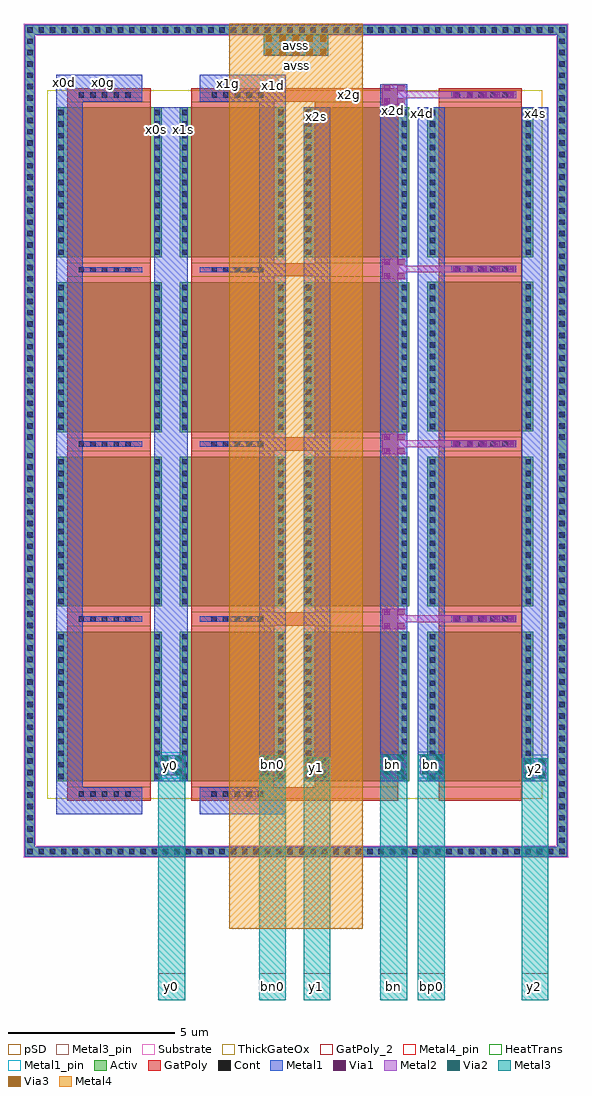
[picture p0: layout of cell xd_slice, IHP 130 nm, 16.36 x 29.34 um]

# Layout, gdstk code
from math import pi, radians
import gdstk
lib = gdstk.Library(unit=1e-6, precision=1e-09)
def R(c, l, rs):  # rectangles x0, y0, x1, y1
    for r in rs: c.add(gdstk.rectangle(r[:2], r[2:], *l))
def A(c, l, x, y, w, h, nx, ny, dx, dy):  # array of equal rectangles
    R(c, l, [(x+i*dx, y+j*dy, x+i*dx+w, y+j*dy+h) for i in range(nx) for j in range(ny)])
def P(c, l, *ps):  # polygons
    for p in ps: c.add(gdstk.Polygon(p, *l))
Activ = (1, 0)
GatPoly = (5, 0)
GatPoly_2 = (5, 2)
Cont = (6, 0)
Metal1 = (8, 0)
Metal1_pin = (8, 2)
Metal2 = (10, 0)
pSD = (14, 0)
Via1 = (19, 0)
Via2 = (29, 0)
Metal3 = (30, 0)
Metal3_pin = (30, 2)
Substrate = (40, 0)
ThickGateOx = (44, 0)
Via3 = (49, 0)
Metal4 = (50, 0)
Metal4_pin = (50, 2)
HeatTrans = (51, 0)

nmoshv = lib.new_cell('nmosHV')
R(nmoshv, Activ, [(0,0,0.3,0.3), (0,0,3.18,4.5), (2.88,0,3.18,0.3)])
R(nmoshv, GatPoly, [(0.34,-0.18,2.84,4.68)])
R(nmoshv, GatPoly_2, [(0.34,-0.18,2.84,4.68)])
A(nmoshv, Cont, 0.07, 0.07, 0.16, 0.16, 1, 13, 0, 0.35)
A(nmoshv, Cont, 2.95, 0.07, 0.16, 0.16, 1, 13, 0, 0.35)
R(nmoshv, Metal1, [(0.07,0,0.23,4.5), (2.95,0,3.11,4.5)])
R(nmoshv, Metal1_pin, [(0.07,0,0.23,4.5), (2.95,0,3.11,4.5)])
R(nmoshv, ThickGateOx, [(-0.27,-0.52,3.45,5.02)])
R(nmoshv, HeatTrans, [(0.34,-0.18,2.84,4.68)])
nmoshv.add(gdstk.Label('nmosHV', (1.59,2.25), layer=63, texttype=0))
nmoshv.add(gdstk.Label('nmosHV', (1.59,2.25), layer=51, texttype=0))

guard_ring = lib.new_cell('guard_ring')
R(guard_ring, Activ, [(-8.15,-12.2,-7.85,12.2), (7.85,-12.2,8.15,12.2), (-8.15,12.2,8.15,12.5)])
P(guard_ring, Activ, [(-8.15,-12.5),(-8.15,12.2),(-7.85,12.2),(-7.85,-12.2),(7.85,-12.2),(7.85,12.2),(-8.15,12.2),(-8.15,12.5),(8.15,12.5),(8.15,-12.5)])
A(guard_ring, Cont, -8.08, -12.43, 0.16, 0.16, 24, 2, 0.34, 24.7)
A(guard_ring, Cont, 0.1, -12.43, 0.16, 0.16, 24, 2, 0.34, 24.7)
A(guard_ring, Cont, -8.08, -12.09, 0.16, 0.16, 1, 35, 0, 0.34)
A(guard_ring, Cont, 7.92, -12.09, 0.16, 0.16, 1, 35, 0, 0.34)
A(guard_ring, Cont, -8.08, 0.03, 0.16, 0.16, 1, 36, 0, 0.34)
A(guard_ring, Cont, 7.92, 0.03, 0.16, 0.16, 1, 36, 0, 0.34)
R(guard_ring, Metal1, [(-8.15,-12.5,8.15,-12.2), (-8.15,-12.2,-7.85,12.2), (7.85,-12.2,8.15,12.2), (-8.15,12.2,8.15,12.5)])
R(guard_ring, pSD, [(-8.18,-12.17,-7.82,12.17), (7.82,-12.17,8.18,12.17), (-8.18,12.17,8.18,12.53)])
P(guard_ring, pSD, [(-8.18,-12.53),(-8.18,12.17),(-7.82,12.17),(-7.82,-12.17),(7.82,-12.17),(7.82,12.17),(-8.18,12.17),(-8.18,12.53),(8.18,12.53),(8.18,-12.53)])
R(guard_ring, Substrate, [(-8.18,-12.17,-7.82,12.17), (7.82,-12.17,8.18,12.17), (-8.18,12.17,8.18,12.53)])
P(guard_ring, Substrate, [(-8.18,-12.53),(-8.18,12.17),(-7.82,12.17),(-7.82,-12.17),(7.82,-12.17),(7.82,12.17),(-8.18,12.17),(-8.18,12.53),(8.18,12.53),(8.18,-12.53)])
guard_ring.add(gdstk.Label('sub!', (0,-12.35), layer=63, texttype=0))

via_stack = lib.new_cell('via_stack')
R(via_stack, Metal1, [(-0.35,-0.31,0.35,0.31)])
R(via_stack, Metal2, [(-0.35,-0.305,0.35,0.305)])
R(via_stack, Via1, [(-0.3,-0.3,-0.11,-0.11), (0.11,-0.3,0.3,-0.11), (-0.3,0.11,-0.11,0.3), (0.11,0.11,0.3,0.3)])
R(via_stack, Via2, [(-0.3,-0.3,-0.11,-0.11), (0.11,-0.3,0.3,-0.11), (-0.3,0.11,-0.11,0.3), (0.11,0.11,0.3,0.3)])
R(via_stack, Metal3, [(-0.35,-0.305,0.35,0.305)])

via_stack_3 = lib.new_cell('via_stack$3')
R(via_stack_3, Metal1, [(-0.35,-0.31,0.35,0.31)])
R(via_stack_3, Metal2, [(-0.35,-0.305,0.35,0.305)])
R(via_stack_3, Via1, [(-0.3,-0.3,-0.11,-0.11), (0.11,-0.3,0.3,-0.11), (-0.3,0.11,-0.11,0.3), (0.11,0.11,0.3,0.3)])

via_stack_2 = lib.new_cell('via_stack$2')
R(via_stack_2, Metal1, [(-0.965,-0.31,0.965,0.31)])
R(via_stack_2, Metal2, [(-0.965,-0.305,0.965,0.305)])
A(via_stack_2, Via1, -0.915, -0.3, 0.19, 0.19, 5, 2, 0.41, 0.41)
A(via_stack_2, Via2, -0.915, -0.3, 0.19, 0.19, 5, 2, 0.41, 0.41)
R(via_stack_2, Metal3, [(-0.965,-0.305,0.965,0.305)])
A(via_stack_2, Via3, -0.915, -0.3, 0.19, 0.19, 5, 2, 0.41, 0.41)
R(via_stack_2, Metal4, [(-0.965,-0.305,0.965,0.305)])

xd_slice = lib.new_cell('xd_slice')
A(xd_slice, GatPoly, 1.31, 1.71, 2.5, 0.4, 1, 3, 0, 5.26)
A(xd_slice, GatPoly, 1.31, 6.97, 2.5, 0.4, 4, 2, 3.72, 5.26)
A(xd_slice, GatPoly, 1.31, 17.47, 2.5, 0.4, 4, 1, 3.72, 0)
R(xd_slice, GatPoly, [(1.31,1.71,3.81,2.11), (5.03,1.71,7.53,2.11), (5.03,1.71,7.53,2.11), (8.75,1.71,11.25,2.11), (8.75,1.71,11.25,2.11), (12.47,1.71,14.97,2.11), (12.47,1.71,14.97,2.11), (12.47,6.97,14.97,7.37), (12.47,6.97,14.97,7.37), (12.47,6.97,14.97,7.37), (12.47,6.97,14.97,7.37), (12.47,6.97,14.97,7.37), (12.47,6.97,14.97,7.37), (12.47,6.97,14.97,7.37), (12.47,12.23,14.97,12.63), (12.47,12.23,14.97,12.63), (12.47,12.23,14.97,12.63), (12.47,12.23,14.97,12.63), (12.47,12.23,14.97,12.63), (1.31,22.73,3.81,23.13), (1.31,22.73,3.81,23.13), (5.035,22.73,7.535,23.13), (5.035,22.73,7.535,23.13), (8.745,22.73,11.245,23.13), (8.745,22.73,11.245,23.13), (12.47,22.73,14.97,23.13), (12.47,22.73,14.97,23.13), (12.47,22.73,14.97,23.13)])
R(xd_slice, Cont, [(1.645,1.835,1.805,1.995), (1.645,1.835,1.805,1.995), (1.645,1.835,1.805,1.995), (1.645,1.835,1.805,1.995), (1.995,1.835,2.155,1.995), (1.995,1.835,2.155,1.995), (1.995,1.835,2.155,1.995), (1.995,1.835,2.155,1.995), (2.345,1.835,2.505,1.995), (2.345,1.835,2.505,1.995), (2.345,1.835,2.505,1.995), (2.345,1.835,2.505,1.995), (2.695,1.835,2.855,1.995), (2.695,1.835,2.855,1.995), (2.695,1.835,2.855,1.995), (2.695,1.835,2.855,1.995), (3.045,1.835,3.205,1.995), (3.045,1.835,3.205,1.995), (3.045,1.835,3.205,1.995), (3.045,1.835,3.205,1.995), (5.635,1.835,5.795,1.995), (5.635,1.835,5.795,1.995), (5.635,1.835,5.795,1.995), (5.635,1.835,5.795,1.995), (5.985,1.835,6.145,1.995), (5.985,1.835,6.145,1.995), (5.985,1.835,6.145,1.995), (5.985,1.835,6.145,1.995), (6.335,1.835,6.495,1.995), (6.335,1.835,6.495,1.995), (6.335,1.835,6.495,1.995), (6.335,1.835,6.495,1.995), (6.685,1.835,6.845,1.995), (6.685,1.835,6.845,1.995), (6.685,1.835,6.845,1.995), (6.685,1.835,6.845,1.995), (7.035,1.835,7.195,1.995), (7.035,1.835,7.195,1.995), (7.035,1.835,7.195,1.995), (7.035,1.835,7.195,1.995), (1.645,7.095,1.805,7.255), (1.645,7.095,1.805,7.255), (1.645,7.095,1.805,7.255), (1.645,7.095,1.805,7.255), (1.995,7.095,2.155,7.255), (1.995,7.095,2.155,7.255), (1.995,7.095,2.155,7.255), (1.995,7.095,2.155,7.255), (2.345,7.095,2.505,7.255), (2.345,7.095,2.505,7.255), (2.345,7.095,2.505,7.255), (2.345,7.095,2.505,7.255), (2.695,7.095,2.855,7.255), (2.695,7.095,2.855,7.255), (2.695,7.095,2.855,7.255), (2.695,7.095,2.855,7.255), (3.045,7.095,3.205,7.255), (3.045,7.095,3.205,7.255), (3.045,7.095,3.205,7.255), (3.045,7.095,3.205,7.255), (5.635,7.095,5.795,7.255), (5.635,7.095,5.795,7.255), (5.635,7.095,5.795,7.255), (5.635,7.095,5.795,7.255), (5.985,7.095,6.145,7.255), (5.985,7.095,6.145,7.255), (5.985,7.095,6.145,7.255), (5.985,7.095,6.145,7.255), (6.335,7.095,6.495,7.255), (6.335,7.095,6.495,7.255), (6.335,7.095,6.495,7.255), (6.335,7.095,6.495,7.255), (6.685,7.095,6.845,7.255), (6.685,7.095,6.845,7.255), (6.685,7.095,6.845,7.255), (6.685,7.095,6.845,7.255), (7.035,7.095,7.195,7.255), (7.035,7.095,7.195,7.255), (7.035,7.095,7.195,7.255), (7.035,7.095,7.195,7.255), (12.965,7.095,13.125,7.255), (12.965,7.095,13.125,7.255), (12.965,7.095,13.125,7.255), (12.965,7.095,13.125,7.255), (13.315,7.095,13.475,7.255), (13.315,7.095,13.475,7.255), (13.315,7.095,13.475,7.255), (13.315,7.095,13.475,7.255), (13.315,7.095,13.475,7.255), (13.315,7.095,13.475,7.255), (13.315,7.095,13.475,7.255), (13.315,7.095,13.475,7.255), (13.665,7.095,13.825,7.255), (13.665,7.095,13.825,7.255), (13.665,7.095,13.825,7.255), (13.665,7.095,13.825,7.255), (13.665,7.095,13.825,7.255), (13.665,7.095,13.825,7.255), (13.665,7.095,13.825,7.255), (13.665,7.095,13.825,7.255), (14.015,7.095,14.175,7.255), (14.015,7.095,14.175,7.255), (14.015,7.095,14.175,7.255), (14.015,7.095,14.175,7.255), (14.015,7.095,14.175,7.255), (14.015,7.095,14.175,7.255), (14.015,7.095,14.175,7.255), (14.015,7.095,14.175,7.255), (14.365,7.095,14.525,7.255), (14.365,7.095,14.525,7.255), (14.365,7.095,14.525,7.255), (14.365,7.095,14.525,7.255), (1.645,12.355,1.805,12.515), (1.645,12.355,1.805,12.515), (1.645,12.355,1.805,12.515), (1.645,12.355,1.805,12.515), (1.995,12.355,2.155,12.515), (1.995,12.355,2.155,12.515), (1.995,12.355,2.155,12.515), (1.995,12.355,2.155,12.515), (2.345,12.355,2.505,12.515), (2.345,12.355,2.505,12.515), (2.345,12.355,2.505,12.515), (2.345,12.355,2.505,12.515), (2.695,12.355,2.855,12.515), (2.695,12.355,2.855,12.515), (2.695,12.355,2.855,12.515), (2.695,12.355,2.855,12.515), (3.045,12.355,3.205,12.515), (3.045,12.355,3.205,12.515), (3.045,12.355,3.205,12.515), (3.045,12.355,3.205,12.515), (5.635,12.355,5.795,12.515), (5.635,12.355,5.795,12.515), (5.635,12.355,5.795,12.515), (5.635,12.355,5.795,12.515), (5.985,12.355,6.145,12.515), (5.985,12.355,6.145,12.515), (5.985,12.355,6.145,12.515), (5.985,12.355,6.145,12.515), (6.335,12.355,6.495,12.515), (6.335,12.355,6.495,12.515), (6.335,12.355,6.495,12.515), (6.335,12.355,6.495,12.515), (6.685,12.355,6.845,12.515), (6.685,12.355,6.845,12.515), (6.685,12.355,6.845,12.515), (6.685,12.355,6.845,12.515), (7.035,12.355,7.195,12.515), (7.035,12.355,7.195,12.515), (7.035,12.355,7.195,12.515), (7.035,12.355,7.195,12.515), (12.965,12.355,13.125,12.515), (12.965,12.355,13.125,12.515), (12.965,12.355,13.125,12.515), (12.965,12.355,13.125,12.515), (13.315,12.355,13.475,12.515), (13.315,12.355,13.475,12.515), (13.315,12.355,13.475,12.515), (13.315,12.355,13.475,12.515), (13.315,12.355,13.475,12.515), (13.315,12.355,13.475,12.515), (13.315,12.355,13.475,12.515), (13.315,12.355,13.475,12.515), (13.665,12.355,13.825,12.515), (13.665,12.355,13.825,12.515), (13.665,12.355,13.825,12.515), (13.665,12.355,13.825,12.515), (13.665,12.355,13.825,12.515), (13.665,12.355,13.825,12.515), (13.665,12.355,13.825,12.515), (13.665,12.355,13.825,12.515), (14.015,12.355,14.175,12.515), (14.015,12.355,14.175,12.515), (14.015,12.355,14.175,12.515), (14.015,12.355,14.175,12.515), (14.015,12.355,14.175,12.515), (14.015,12.355,14.175,12.515), (14.015,12.355,14.175,12.515), (14.015,12.355,14.175,12.515), (14.365,12.355,14.525,12.515), (14.365,12.355,14.525,12.515), (14.365,12.355,14.525,12.515), (14.365,12.355,14.525,12.515), (1.645,17.595,1.805,17.755), (1.645,17.595,1.805,17.755), (1.645,17.595,1.805,17.755), (1.645,17.595,1.805,17.755), (1.995,17.595,2.155,17.755), (1.995,17.595,2.155,17.755), (1.995,17.595,2.155,17.755), (1.995,17.595,2.155,17.755), (2.345,17.595,2.505,17.755), (2.345,17.595,2.505,17.755), (2.345,17.595,2.505,17.755), (2.345,17.595,2.505,17.755), (2.695,17.595,2.855,17.755), (2.695,17.595,2.855,17.755), (2.695,17.595,2.855,17.755), (2.695,17.595,2.855,17.755), (3.045,17.595,3.205,17.755), (3.045,17.595,3.205,17.755), (3.045,17.595,3.205,17.755), (3.045,17.595,3.205,17.755), (5.64,17.595,5.8,17.755), (5.64,17.595,5.8,17.755), (5.64,17.595,5.8,17.755), (5.64,17.595,5.8,17.755), (5.99,17.595,6.15,17.755), (5.99,17.595,6.15,17.755), (5.99,17.595,6.15,17.755), (5.99,17.595,6.15,17.755), (6.34,17.595,6.5,17.755), (6.34,17.595,6.5,17.755), (6.34,17.595,6.5,17.755), (6.34,17.595,6.5,17.755), (6.69,17.595,6.85,17.755), (6.69,17.595,6.85,17.755), (6.69,17.595,6.85,17.755), (6.69,17.595,6.85,17.755), (7.04,17.595,7.2,17.755), (7.04,17.595,7.2,17.755), (7.04,17.595,7.2,17.755), (7.04,17.595,7.2,17.755), (12.965,17.615,13.125,17.775), (12.965,17.615,13.125,17.775), (12.965,17.615,13.125,17.775), (12.965,17.615,13.125,17.775), (13.315,17.615,13.475,17.775), (13.315,17.615,13.475,17.775), (13.315,17.615,13.475,17.775), (13.315,17.615,13.475,17.775), (13.315,17.615,13.475,17.775), (13.315,17.615,13.475,17.775), (13.315,17.615,13.475,17.775), (13.315,17.615,13.475,17.775), (13.665,17.615,13.825,17.775), (13.665,17.615,13.825,17.775), (13.665,17.615,13.825,17.775), (13.665,17.615,13.825,17.775), (13.665,17.615,13.825,17.775), (13.665,17.615,13.825,17.775), (13.665,17.615,13.825,17.775), (13.665,17.615,13.825,17.775), (14.015,17.615,14.175,17.775), (14.015,17.615,14.175,17.775), (14.015,17.615,14.175,17.775), (14.015,17.615,14.175,17.775), (14.015,17.615,14.175,17.775), (14.015,17.615,14.175,17.775), (14.015,17.615,14.175,17.775), (14.015,17.615,14.175,17.775), (14.365,17.615,14.525,17.775), (14.365,17.615,14.525,17.775), (14.365,17.615,14.525,17.775), (14.365,17.615,14.525,17.775), (1.645,22.845,1.805,23.005), (1.645,22.845,1.805,23.005), (1.645,22.845,1.805,23.005), (1.645,22.845,1.805,23.005), (1.995,22.845,2.155,23.005), (1.995,22.845,2.155,23.005), (1.995,22.845,2.155,23.005), (1.995,22.845,2.155,23.005), (2.345,22.845,2.505,23.005), (2.345,22.845,2.505,23.005), (2.345,22.845,2.505,23.005), (2.345,22.845,2.505,23.005), (2.695,22.845,2.855,23.005), (2.695,22.845,2.855,23.005), (2.695,22.845,2.855,23.005), (2.695,22.845,2.855,23.005), (3.045,22.845,3.205,23.005), (3.045,22.845,3.205,23.005), (3.045,22.845,3.205,23.005), (3.045,22.845,3.205,23.005), (5.64,22.845,5.8,23.005), (5.64,22.845,5.8,23.005), (5.64,22.845,5.8,23.005), (5.64,22.845,5.8,23.005), (5.99,22.845,6.15,23.005), (5.99,22.845,6.15,23.005), (5.99,22.845,6.15,23.005), (5.99,22.845,6.15,23.005), (6.34,22.845,6.5,23.005), (6.34,22.845,6.5,23.005), (6.34,22.845,6.5,23.005), (6.34,22.845,6.5,23.005), (6.69,22.845,6.85,23.005), (6.69,22.845,6.85,23.005), (6.69,22.845,6.85,23.005), (6.69,22.845,6.85,23.005), (7.04,22.845,7.2,23.005), (7.04,22.845,7.2,23.005), (7.04,22.845,7.2,23.005), (7.04,22.845,7.2,23.005), (12.965,22.855,13.125,23.015), (12.965,22.855,13.125,23.015), (12.965,22.855,13.125,23.015), (12.965,22.855,13.125,23.015), (13.315,22.855,13.475,23.015), (13.315,22.855,13.475,23.015), (13.315,22.855,13.475,23.015), (13.315,22.855,13.475,23.015), (13.315,22.855,13.475,23.015), (13.315,22.855,13.475,23.015), (13.315,22.855,13.475,23.015), (13.315,22.855,13.475,23.015), (13.665,22.855,13.825,23.015), (13.665,22.855,13.825,23.015), (13.665,22.855,13.825,23.015), (13.665,22.855,13.825,23.015), (13.665,22.855,13.825,23.015), (13.665,22.855,13.825,23.015), (13.665,22.855,13.825,23.015), (13.665,22.855,13.825,23.015), (14.015,22.855,14.175,23.015), (14.015,22.855,14.175,23.015), (14.015,22.855,14.175,23.015), (14.015,22.855,14.175,23.015), (14.015,22.855,14.175,23.015), (14.015,22.855,14.175,23.015), (14.015,22.855,14.175,23.015), (14.015,22.855,14.175,23.015), (14.365,22.855,14.525,23.015), (14.365,22.855,14.525,23.015), (14.365,22.855,14.525,23.015), (14.365,22.855,14.525,23.015)])
A(xd_slice, Metal1, 12.84, 7.07, 1.95, 0.21, 1, 3, 0, 5.26)
R(xd_slice, Metal1, [(1.645,1.835,3.555,1.995), (1.645,1.835,3.555,1.995), (5.285,1.835,7.195,1.995), (5.285,1.835,7.195,1.995), (3.92,2.29,4.92,22.55), (1.645,7.095,3.555,7.255), (1.645,7.095,3.555,7.255), (5.285,7.095,7.195,7.255), (5.285,7.095,7.195,7.255), (1.645,12.355,3.555,12.515), (1.645,12.355,3.555,12.515), (5.285,12.355,7.195,12.515), (5.285,12.355,7.195,12.515), (1.645,17.595,3.555,17.755), (1.645,17.595,3.555,17.755), (5.29,17.595,7.2,17.755), (5.29,17.595,7.2,17.755), (12.84,22.83,14.805,23.04), (1.645,22.845,3.555,23.005), (1.645,22.845,3.555,23.005), (5.29,22.845,7.2,23.005), (5.29,22.845,7.2,23.005)])
R(xd_slice, Metal1_pin, [(1.645,1.835,3.555,1.995), (1.645,1.835,3.555,1.995), (5.285,1.835,7.195,1.995), (5.285,1.835,7.195,1.995), (14.97,2.29,15.77,3.09), (4.02,2.37,4.82,3.17), (10.72,2.385,11.52,3.185), (11.845,2.385,12.645,3.185), (7.07,2.39,7.87,3.19), (8.41,2.39,9.21,3.19), (1.645,7.095,3.555,7.255), (1.645,7.095,3.555,7.255), (5.285,7.095,7.195,7.255), (5.285,7.095,7.195,7.255), (1.645,12.355,3.555,12.515), (1.645,12.355,3.555,12.515), (5.285,12.355,7.195,12.515), (5.285,12.355,7.195,12.515), (1.645,17.595,3.555,17.755), (1.645,17.595,3.555,17.755), (5.29,17.595,7.2,17.755), (5.29,17.595,7.2,17.755), (1.645,22.845,3.555,23.005), (1.645,22.845,3.555,23.005), (5.29,22.845,7.2,23.005), (5.29,22.845,7.2,23.005)])
A(xd_slice, Metal2, 12.84, 7.07, 0.05, 0.21, 1, 3, 0, 5.26)
A(xd_slice, Metal2, 12.89, 7.07, 1.915, 0.21, 1, 3, 0, 5.26)
R(xd_slice, Metal2, [(12.84,22.83,12.89,23.04), (12.89,22.83,14.805,23.04)])
A(xd_slice, Via1, 12.9, 7.08, 0.19, 0.19, 5, 3, 0.41, 5.26)
A(xd_slice, Via1, 14.54, 7.08, 0.19, 0.19, 1, 3, 0, 5.26)
A(xd_slice, Via1, 12.9, 22.84, 0.19, 0.19, 5, 1, 0.41, 0)
R(xd_slice, Via1, [(14.54,22.84,14.73,23.03)])
R(xd_slice, Metal3_pin, [(4.045,-4.28,4.845,-3.48), (7.07,-4.28,7.87,-3.48), (8.41,-4.28,9.21,-3.48), (10.72,-4.28,11.52,-3.48), (11.845,-4.28,12.645,-3.48), (14.96,-4.28,15.76,-3.48)])
R(xd_slice, Metal4_pin, [(6.18,-2.14,10.18,25.06)])
xd_slice.add(gdstk.FlexPath([(1.375,2.29),(1.375,1.71),(1.65,1.71)], 0.8, ends="flush", simple_path=True, layer=8, datatype=0))  # Metal1
xd_slice.add(gdstk.FlexPath([(12.245,2.29),(12.245,22.55)], 0.8, ends="flush", simple_path=True, layer=8, datatype=0))  # Metal1
xd_slice.add(gdstk.FlexPath([(11.12,23.245),(11.12,2.29)], 0.8, ends="flush", simple_path=True, layer=8, datatype=0))  # Metal1
xd_slice.add(gdstk.FlexPath([(8.81,22.55),(8.81,2.29)], 0.8, ends="flush", simple_path=True, layer=8, datatype=0))  # Metal1
xd_slice.add(gdstk.FlexPath([(15.37,22.55),(15.37,2.29),(15.37,2.29)], 0.8, ends="flush", simple_path=True, layer=8, datatype=0))  # Metal1
xd_slice.add(gdstk.FlexPath([(3.56,1.71),(1.65,1.71)], 0.8, ends="flush", simple_path=True, layer=8, datatype=0))  # Metal1
xd_slice.add(gdstk.FlexPath([(1.375,22.55),(1.375,23.13),(1.65,23.13)], 0.8, ends="flush", simple_path=True, layer=8, datatype=0))  # Metal1
xd_slice.add(gdstk.FlexPath([(3.56,23.13),(1.65,23.13)], 0.8, ends="flush", simple_path=True, layer=8, datatype=0))  # Metal1
xd_slice.add(gdstk.FlexPath([(7.47,22.55),(7.47,23.13),(7.195,23.13)], 0.8, ends="flush", simple_path=True, layer=8, datatype=0))  # Metal1
xd_slice.add(gdstk.FlexPath([(5.285,23.13),(7.195,23.13)], 0.8, ends="flush", simple_path=True, layer=8, datatype=0))  # Metal1
xd_slice.add(gdstk.FlexPath([(1.375,2.29),(1.375,22.55)], 0.8, ends="flush", simple_path=True, layer=8, datatype=0))  # Metal1
xd_slice.add(gdstk.FlexPath([(5.285,1.71),(7.195,1.71)], 0.8, ends="flush", simple_path=True, layer=8, datatype=0))  # Metal1
xd_slice.add(gdstk.FlexPath([(7.47,2.29),(7.47,1.71),(7.195,1.71)], 0.8, ends="flush", simple_path=True, layer=8, datatype=0))  # Metal1
xd_slice.add(gdstk.FlexPath([(7.47,2.29),(7.47,22.55)], 0.8, ends="flush", simple_path=True, layer=8, datatype=0))  # Metal1
xd_slice.add(gdstk.FlexPath([(5.285,1.71),(7.195,1.71)], 0.8, ends="flush", simple_path=True, layer=8, datatype=0))  # Metal1
xd_slice.add(gdstk.FlexPath([(7.47,2.29),(7.47,1.71),(7.195,1.71)], 0.8, ends="flush", simple_path=True, layer=8, datatype=0))  # Metal1
xd_slice.add(gdstk.FlexPath([(7.53,7.17),(8.75,7.17)], 0.4, ends="flush", simple_path=True, layer=5, datatype=0))  # GatPoly
xd_slice.add(gdstk.FlexPath([(7.53,1.91),(8.75,1.91)], 0.4, ends="flush", simple_path=True, layer=5, datatype=0))  # GatPoly
xd_slice.add(gdstk.FlexPath([(7.53,12.43),(8.75,12.43)], 0.4, ends="flush", simple_path=True, layer=5, datatype=0))  # GatPoly
xd_slice.add(gdstk.FlexPath([(7.53,17.67),(8.75,17.67)], 0.4, ends="flush", simple_path=True, layer=5, datatype=0))  # GatPoly
xd_slice.add(gdstk.FlexPath([(7.535,22.93),(8.745,22.93)], 0.4, ends="flush", simple_path=True, layer=5, datatype=0))  # GatPoly
xd_slice.add(gdstk.FlexPath([(8.18,0),(8.18,-2.14)], 4, ends="flush", simple_path=True, layer=50, datatype=2))  # Metal4_pin
xd_slice.add(gdstk.FlexPath([(8.18,25.06),(8.18,0)], 4, ends="flush", simple_path=True, layer=50, datatype=2))  # Metal4_pin
xd_slice.add(gdstk.FlexPath([(8.18,0),(8.18,-2.14)], 4, ends="flush", simple_path=True, layer=50, datatype=0))  # Metal4
xd_slice.add(gdstk.FlexPath([(8.18,25.06),(8.18,0)], 4, ends="flush", simple_path=True, layer=50, datatype=0))  # Metal4
xd_slice.add(gdstk.FlexPath([(12.81,22.935),(10.77,22.935)], 0.21, ends="flush", simple_path=True, layer=10, datatype=0))  # Metal2
xd_slice.add(gdstk.FlexPath([(10.77,22.935),(12.84,22.935)], 0.21, ends="flush", simple_path=True, layer=10, datatype=0))  # Metal2
xd_slice.add(gdstk.FlexPath([(12.81,17.695),(10.77,17.695)], 0.21, ends="flush", simple_path=True, layer=10, datatype=0))  # Metal2
xd_slice.add(gdstk.FlexPath([(12.81,12.435),(10.77,12.435)], 0.21, ends="flush", simple_path=True, layer=10, datatype=0))  # Metal2
xd_slice.add(gdstk.FlexPath([(10.77,17.695),(12.84,17.695)], 0.21, ends="flush", simple_path=True, layer=10, datatype=0))  # Metal2
xd_slice.add(gdstk.FlexPath([(10.77,12.435),(12.84,12.435)], 0.21, ends="flush", simple_path=True, layer=10, datatype=0))  # Metal2
xd_slice.add(gdstk.FlexPath([(12.81,7.175),(10.77,7.175)], 0.21, ends="flush", simple_path=True, layer=10, datatype=0))  # Metal2
xd_slice.add(gdstk.FlexPath([(10.77,7.175),(12.84,7.175)], 0.21, ends="flush", simple_path=True, layer=10, datatype=0))  # Metal2
xd_slice.add(gdstk.FlexPath([(15.36,2.99),(15.36,0),(15.36,0)], 0.8, ends="flush", simple_path=True, layer=30, datatype=0))  # Metal3
xd_slice.add(gdstk.FlexPath([(12.245,3.11),(12.245,0)], 0.8, ends="flush", simple_path=True, layer=30, datatype=0))  # Metal3
xd_slice.add(gdstk.FlexPath([(8.81,3.02),(8.81,0)], 0.8, ends="flush", simple_path=True, layer=30, datatype=0))  # Metal3
xd_slice.add(gdstk.FlexPath([(7.47,3.08),(7.47,0)], 0.8, ends="flush", simple_path=True, layer=30, datatype=0))  # Metal3
xd_slice.add(gdstk.FlexPath([(4.445,3.085),(4.445,0)], 0.8, ends="flush", simple_path=True, layer=30, datatype=0))  # Metal3
xd_slice.add(gdstk.FlexPath([(4.445,3.085),(4.445,0)], 0.8, ends="flush", simple_path=True, layer=30, datatype=0))  # Metal3
xd_slice.add(gdstk.FlexPath([(7.47,3.08),(7.47,0)], 0.8, ends="flush", simple_path=True, layer=30, datatype=0))  # Metal3
xd_slice.add(gdstk.FlexPath([(8.81,3.02),(8.81,0)], 0.8, ends="flush", simple_path=True, layer=30, datatype=0))  # Metal3
xd_slice.add(gdstk.FlexPath([(12.245,3.11),(12.245,0)], 0.8, ends="flush", simple_path=True, layer=30, datatype=0))  # Metal3
xd_slice.add(gdstk.FlexPath([(15.36,2.99),(15.36,0),(15.36,0)], 0.8, ends="flush", simple_path=True, layer=30, datatype=0))  # Metal3
xd_slice.add(gdstk.FlexPath([(11.12,0),(11.12,-4.28)], 0.8, ends="flush", simple_path=True, layer=30, datatype=0))  # Metal3
xd_slice.add(gdstk.FlexPath([(15.36,0),(15.36,-4.28)], 0.8, ends="flush", simple_path=True, layer=30, datatype=0))  # Metal3
xd_slice.add(gdstk.FlexPath([(11.12,3.11),(11.12,0)], 0.8, ends="flush", simple_path=True, layer=30, datatype=0))  # Metal3
xd_slice.add(gdstk.FlexPath([(12.245,0),(12.245,-4.28)], 0.8, ends="flush", simple_path=True, layer=30, datatype=0))  # Metal3
xd_slice.add(gdstk.FlexPath([(8.81,0),(8.81,-4.28)], 0.8, ends="flush", simple_path=True, layer=30, datatype=0))  # Metal3
xd_slice.add(gdstk.FlexPath([(7.47,-4.28),(7.47,0)], 0.8, ends="flush", simple_path=True, layer=30, datatype=0))  # Metal3
xd_slice.add(gdstk.FlexPath([(4.445,0),(4.445,-4.28)], 0.8, ends="flush", simple_path=True, layer=30, datatype=0))  # Metal3
xd_slice.add(gdstk.Reference(nmoshv, (0.97,2.29)))
xd_slice.add(gdstk.Reference(nmoshv, (0.97,12.79)))
xd_slice.add(gdstk.Reference(nmoshv, (0.97,18.05)))
xd_slice.add(gdstk.Reference(nmoshv, (7.87,2.29), rotation=pi, x_reflection=True))
xd_slice.add(gdstk.Reference(nmoshv, (7.87,7.55), rotation=pi, x_reflection=True))
xd_slice.add(gdstk.Reference(nmoshv, (7.87,12.79), rotation=pi, x_reflection=True))
xd_slice.add(gdstk.Reference(nmoshv, (7.87,18.05), rotation=pi, x_reflection=True))
xd_slice.add(gdstk.Reference(nmoshv, (8.41,2.29)))
xd_slice.add(gdstk.Reference(nmoshv, (8.41,7.55)))
xd_slice.add(gdstk.Reference(nmoshv, (8.41,12.79)))
xd_slice.add(gdstk.Reference(nmoshv, (8.41,18.05)))
xd_slice.add(gdstk.Reference(nmoshv, (12.13,2.29)))
xd_slice.add(gdstk.Reference(nmoshv, (12.13,12.81)))
xd_slice.add(gdstk.Reference(nmoshv, (0.97,7.55)))
xd_slice.add(gdstk.Reference(guard_ring, (8.18,12.53)))
xd_slice.add(gdstk.Reference(via_stack, (12.27,2.805), rotation=pi))
xd_slice.add(gdstk.Reference(nmoshv, (12.13,7.55)))
xd_slice.add(gdstk.Reference(via_stack, (11.12,2.805), rotation=pi))
xd_slice.add(gdstk.Reference(via_stack, (15.36,2.685), rotation=pi))
xd_slice.add(gdstk.Reference(via_stack, (8.81,2.715), rotation=pi))
xd_slice.add(gdstk.Reference(via_stack_3, (11.12,22.935), rotation=pi))
xd_slice.add(gdstk.Reference(via_stack_3, (11.12,17.695), rotation=pi))
xd_slice.add(gdstk.Reference(via_stack_3, (11.12,12.435), rotation=pi))
xd_slice.add(gdstk.Reference(via_stack_3, (11.12,7.175), rotation=pi))
xd_slice.add(gdstk.Reference(via_stack, (7.47,2.775), rotation=pi))
xd_slice.add(gdstk.Reference(via_stack, (4.445,2.78), rotation=pi))
xd_slice.add(gdstk.Reference(nmoshv, (12.13,18.05)))
xd_slice.add(gdstk.Reference(via_stack, (8.81,2.715), rotation=pi))
xd_slice.add(gdstk.Reference(via_stack, (12.27,2.805), rotation=pi))
xd_slice.add(gdstk.Reference(via_stack, (15.36,2.685), rotation=pi))
xd_slice.add(gdstk.Reference(via_stack, (4.445,2.78), rotation=pi))
xd_slice.add(gdstk.Reference(via_stack, (7.47,2.775), rotation=pi))
xd_slice.add(gdstk.Reference(via_stack_2, (8.18,24.42), rotation=pi))
xd_slice.add(gdstk.Label('x2g', (9.775,22.95), layer=5, texttype=0))
xd_slice.add(gdstk.Label('bn', (11.075,2.785), layer=8, texttype=25))
xd_slice.add(gdstk.Label('bn', (11.075,2.785), layer=8, texttype=25))
xd_slice.add(gdstk.Label('bn', (12.23,2.785), layer=8, texttype=25))
xd_slice.add(gdstk.Label('bp0', (12.23,2.785), layer=8, texttype=25))
xd_slice.add(gdstk.Label('x0d', (1.22,23.29), layer=8, texttype=25))
xd_slice.add(gdstk.Label('x0g', (2.405,23.31), layer=8, texttype=25))
xd_slice.add(gdstk.Label('x0s', (3.995,21.88), layer=8, texttype=25))
xd_slice.add(gdstk.Label('x1s', (4.81,21.875), layer=8, texttype=25))
xd_slice.add(gdstk.Label('x1g', (6.165,23.26), layer=8, texttype=25))
xd_slice.add(gdstk.Label('x1d', (7.49,23.225), layer=8, texttype=25))
xd_slice.add(gdstk.Label('x2s', (8.81,22.265), layer=8, texttype=25))
xd_slice.add(gdstk.Label('x2d', (11.12,22.45), layer=8, texttype=25))
xd_slice.add(gdstk.Label('x4s', (15.37,22.375), layer=8, texttype=25))
xd_slice.add(gdstk.Label('x4d', (11.98,22.365), layer=8, texttype=25))
xd_slice.add(gdstk.Label('y1', (8.81,2.71), layer=8, texttype=25))
xd_slice.add(gdstk.Label('y2', (15.365,2.69), layer=8, texttype=25))
xd_slice.add(gdstk.Label('y0', (4.42,2.77), layer=8, texttype=25))
xd_slice.add(gdstk.Label('bn0', (7.47,2.79), layer=8, texttype=25))
xd_slice.add(gdstk.Label('avss', (8.15,24.4), layer=50, texttype=0))
xd_slice.add(gdstk.Label('y1', (8.805,-3.88), layer=30, texttype=25))
xd_slice.add(gdstk.Label('bn', (11.12,-3.88), layer=30, texttype=25))
xd_slice.add(gdstk.Label('bn0', (7.47,-3.88), layer=30, texttype=25))
xd_slice.add(gdstk.Label('y0', (4.445,-3.88), layer=30, texttype=25))
xd_slice.add(gdstk.Label('bp0', (12.245,-3.88), layer=30, texttype=25))
xd_slice.add(gdstk.Label('y2', (15.36,-3.88), layer=30, texttype=25))
xd_slice.add(gdstk.Label('avss', (8.185,23.805), layer=50, texttype=25))

lib.write_gds('xd_slice.gds')
